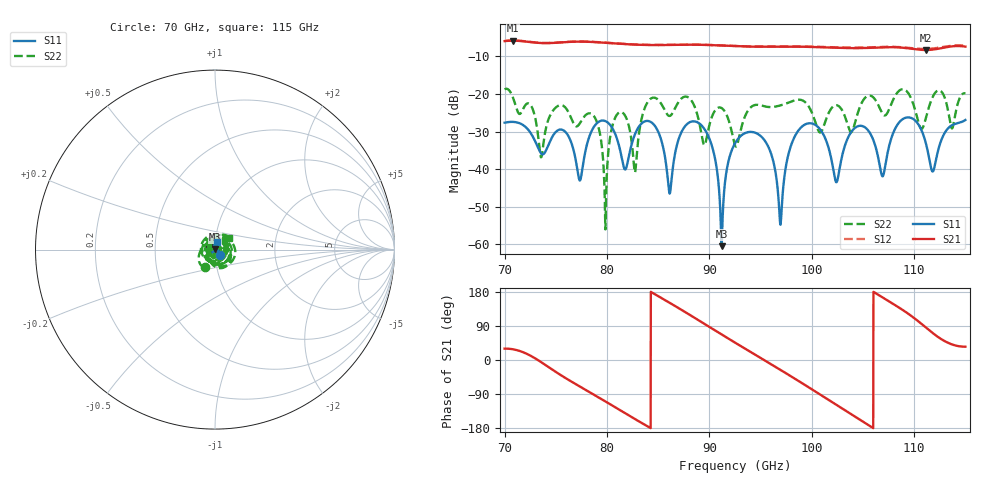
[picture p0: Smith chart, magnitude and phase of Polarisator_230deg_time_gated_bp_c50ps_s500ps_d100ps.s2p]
# Hz S RI R 1.000000
! Metas.Vna.Tools, 2.4.7898.19887
! Metas.Vna.Data, 2.4.7898.19873
! Created: UTC 2021.09.30 14:31:00
! FREQ  re:S1,1  im:S1,1  re:S2,1  im:S2,1  re:S1,2  im:S1,2  re:S2,2  im:S2,2
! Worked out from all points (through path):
!   2251 points, 70 GHz to 115 GHz, reference 1 ohm
!   highest |S21| = -5.84 dB at 70.82 GHz (marker M1); lowest = -8.3 dB at 111.1 GHz (marker M2)
!   lowest |S11| = -60.5 dB at 91.2 GHz (marker M3), VSWR 1.00, Z = 1 + j0.00184 ohm
!   |S11| at or under -10 dB: start of sweep to end of sweep
!   |S22| runs from -56.0 to -18.6 dB; largest |S21 - S12| = 0.055
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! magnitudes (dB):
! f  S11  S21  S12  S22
! 70 GHz  -27.6  -6.0  -5.9  -18.8
! 70.82 GHz  -27.4  -5.8  -5.8  -21.0
! 73.56 GHz  -35.8  -6.5  -6.4  -36.9
! 77.5 GHz  -41.6  -6.1  -6.0  -27.1
! 79 GHz  -27.8  -6.2  -6.2  -27.4
! 79.84 GHz  -27.2  -6.4  -6.4  -56.0
! 80.92 GHz  -31.5  -6.6  -6.6  -25.7
! 82.72 GHz  -30.8  -6.9  -6.9  -40.9
! 85 GHz  -30.1  -7.0  -7.0  -21.6
! 86.12 GHz  -46.5  -7.0  -6.9  -25.8
! 89.42 GHz  -29.0  -6.9  -6.9  -33.2
! 91.2 GHz  -60.5  -7.1  -7.1  -23.8
! 92.5 GHz  -33.1  -7.3  -7.2  -33.6
! 95.42 GHz  -32.5  -7.4  -7.4  -23.3
! 96.94 GHz  -54.8  -7.4  -7.4  -23.0
! 98.04 GHz  -33.2  -7.4  -7.3  -22.0
! 100 GHz  -27.8  -7.5  -7.4  -24.9
! 102.4 GHz  -43.5  -7.7  -7.6  -23.0
! 104.4 GHz  -28.8  -7.8  -7.7  -26.3
! 107.5 GHz  -34.4  -7.6  -7.5  -24.4
! 111.1 GHz  -33.1  -8.3  -8.1  -26.4
! 115 GHz  -26.9  -7.4  -7.2  -19.9
